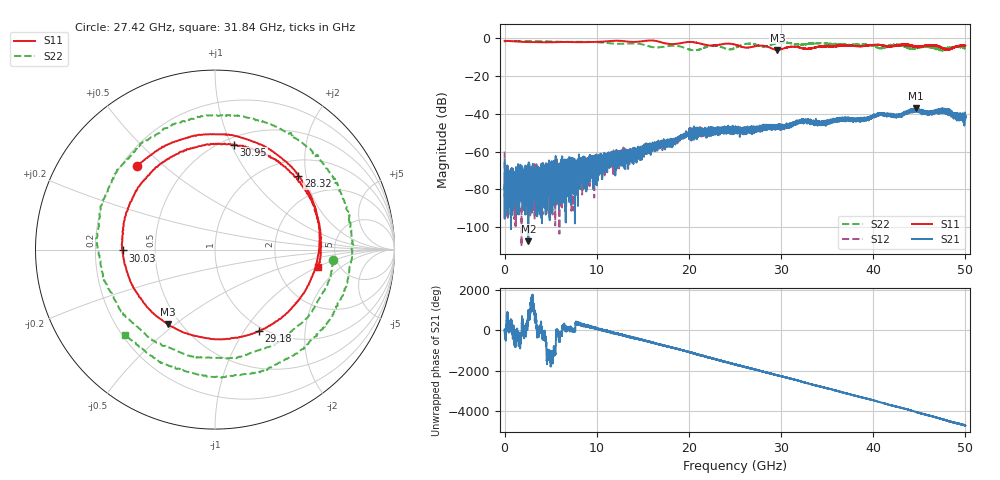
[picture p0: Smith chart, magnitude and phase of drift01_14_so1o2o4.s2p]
!Created with skrf (http://scikit-rf.org).
# Hz S RI R 50.0
!freq ReS11 ImS11 ReS21 ImS21 ReS12 ImS12 ReS22 ImS22
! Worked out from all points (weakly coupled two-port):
!   10001 points, 300 kHz to 50 GHz, reference 50 ohm
!   highest |S21| = -36.99 dB at 44.62 GHz (marker M1); lowest = -107.4 dB at 2.575 GHz (marker M2)
!   lowest |S11| = -6.2 dB at 29.61 GHz (marker M3), VSWR 2.92, Z = 21.6 - j23.5 ohm
!   |S11| at or under -10 dB: nowhere
!   |S22| runs from -6.6 to -1.4 dB; largest |S21 - S12| = 0.0049
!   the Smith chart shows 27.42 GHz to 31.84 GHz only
!   S11 on the Smith chart (normalised r, x): 27.42 GHz: 0.26, +0.41; 28.32 GHz: 1.35, +1.80; 29.18 GHz: 0.95, -1.17; 30.03 GHz: 0.32, -0.00; 30.95 GHz: 0.57, +1.02; 31.84 GHz: 3.47, -1.02
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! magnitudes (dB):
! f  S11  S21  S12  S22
! 300 kHz  -1.3  -64.3  -60.0  -2.1
! 255.3 MHz  -1.4  -79.8  -74.7  -1.4
! 2.575 GHz  -2.0  -107.4  -75.9  -1.4
! 7.38 GHz  -2.0  -72.7  -67.0  -1.9
! 8.335 GHz  -2.0  -65.9  -65.6  -1.8
! 16.67 GHz  -1.6  -54.9  -55.2  -4.8
! 18.62 GHz  -2.9  -53.0  -54.8  -3.9
! 20.53 GHz  -2.1  -49.0  -50.0  -6.3
! 22.59 GHz  -3.9  -49.5  -50.7  -3.8
! 25 GHz  -3.3  -47.2  -49.0  -5.1
! 27.42 GHz  -3.9  -48.2  -47.9  -3.6
! 28.32 GHz  -4.1  -48.3  -47.5  -4.3
! 29.18 GHz  -5.7  -48.2  -47.3  -3.1
! 29.61 GHz  -6.2  -47.2  -47.0  -2.5
! 30.03 GHz  -5.8  -46.7  -48.0  -2.3
! 30.95 GHz  -4.5  -45.9  -46.8  -2.5
! 31.84 GHz  -4.7  -43.8  -44.5  -3.2
! 33.34 GHz  -5.2  -44.4  -44.1  -2.7
! 41.67 GHz  -4.3  -40.3  -40.2  -4.1
! 44.62 GHz  -4.5  -37.0  -38.3  -5.1
! 48.06 GHz  -6.0  -39.7  -38.6  -5.1
! 50 GHz  -3.9  -41.1  -40.6  -5.4
